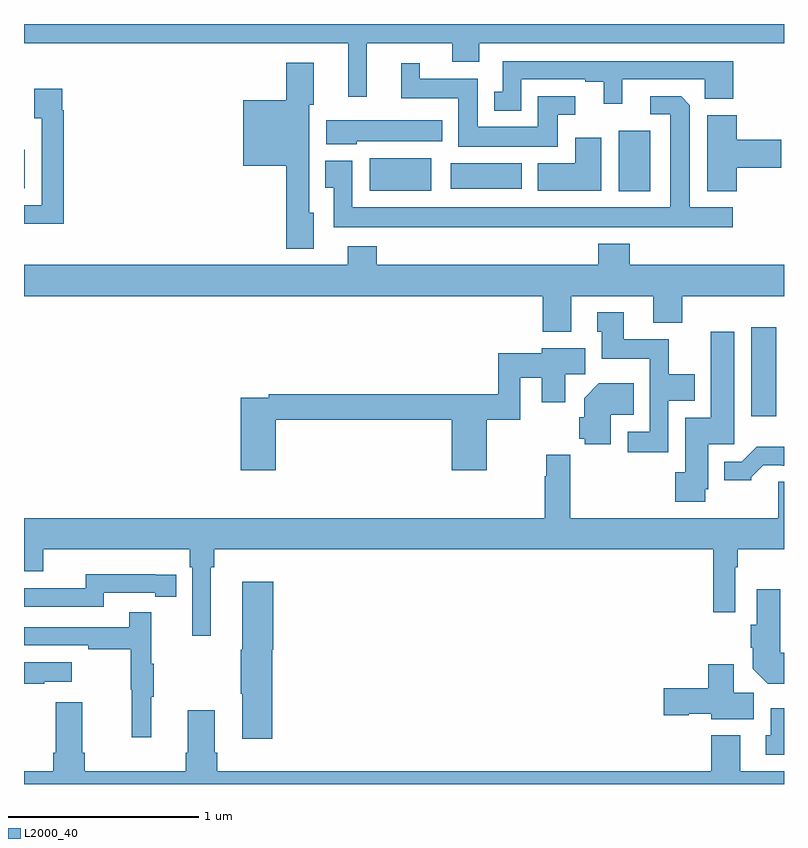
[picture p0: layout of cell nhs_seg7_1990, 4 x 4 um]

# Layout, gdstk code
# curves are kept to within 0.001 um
import gdstk
lib = gdstk.Library(unit=1e-6, precision=1e-09)
def R(c, l, rs):  # rectangles x0, y0, x1, y1
    for r in rs: c.add(gdstk.rectangle(r[:2], r[2:], *l))
def P(c, l, *ps):  # polygons
    for p in ps: c.add(gdstk.Polygon(p, *l))
L2000_40 = (2000, 40)

nhs_seg7_1990 = lib.new_cell('nhs_seg7_1990')
R(nhs_seg7_1990, L2000_40, [(246.827,1047.936,246.958,1048.405), (246.131,1049.12,246.295,1049.437), (244.82,1049.123,245.143,1049.293), (245.247,1049.132,245.62,1049.266), (243,1049.135,243.004,1049.338)])
P(nhs_seg7_1990, L2000_40, [(244.805,1049.9),(245.255,1049.9),(245.255,1049.801),(245.395,1049.801),(245.395,1049.9),(247,1049.9),(247,1050),(243,1050),(243,1049.9),(244.706,1049.9),(244.706,1049.616),(244.805,1049.616)],
  [(245.616,1049.709),(245.954,1049.709),(245.954,1049.697),(246.05,1049.697),(246.05,1049.58),(246.148,1049.58),(246.148,1049.709),(246.582,1049.709),(246.582,1049.606),(246.734,1049.606),(246.734,1049.805),(245.52,1049.805),(245.52,1049.643),(245.474,1049.643),(245.474,1049.543),(245.616,1049.543)],
  [(244.525,1049.007),(244.501,1049.007),(244.501,1049.574),(244.525,1049.574),(244.525,1049.797),(244.379,1049.797),(244.379,1049.599),(244.154,1049.599),(244.154,1049.255),(244.379,1049.255),(244.379,1048.817),(244.525,1048.817)],
  [(245.809,1049.523),(245.902,1049.523),(245.902,1049.619),(245.705,1049.619),(245.705,1049.458),(245.389,1049.458),(245.389,1049.713),(245.083,1049.713),(245.083,1049.794),(244.985,1049.794),(244.985,1049.609),(245.285,1049.609),(245.285,1049.354),(245.809,1049.354)],
  [(243.209,1049.546),(243.202,1049.546),(243.202,1049.659),(243.053,1049.659),(243.053,1049.503),(243.093,1049.503),(243.093,1049.046),(243,1049.046),(243,1048.949),(243.209,1048.949)],
  [(246.73,1049.035),(246.505,1049.035),(246.504,1049.573),(246.458,1049.619),(246.297,1049.619),(246.297,1049.526),(246.401,1049.526),(246.401,1049.035),(244.728,1049.035),(244.728,1049.281),(244.586,1049.281),(244.586,1049.137),(244.631,1049.137),(244.631,1048.931),(246.73,1048.931)],
  [(246.752,1049.243),(246.985,1049.243),(246.985,1049.39),(246.752,1049.39),(246.752,1049.521),(246.596,1049.521),(246.596,1049.12),(246.752,1049.12)],
  [(244.752,1049.384),(245.2,1049.384),(245.2,1049.494),(244.59,1049.494),(244.59,1049.366),(244.752,1049.366)],
  [(246.037,1049.401),(245.9,1049.401),(245.9,1049.266),(245.705,1049.266),(245.705,1049.123),(246.037,1049.123)],
  [(245.881,1048.568),(246.311,1048.568),(246.311,1048.427),(246.464,1048.427),(246.464,1048.568),(247,1048.568),(247,1048.732),(246.188,1048.732),(246.188,1048.843),(246.023,1048.843),(246.023,1048.732),(244.856,1048.732),(244.856,1048.831),(244.703,1048.831),(244.703,1048.732),(243,1048.732),(243,1048.568),(245.729,1048.568),(245.729,1048.379),(245.881,1048.379)],
  [(246.39,1048.016),(246.529,1048.016),(246.529,1048.156),(246.393,1048.156),(246.393,1048.342),(246.157,1048.342),(246.157,1048.483),(246.017,1048.483),(246.017,1048.38),(246.041,1048.38),(246.041,1048.238),(246.294,1048.238),(246.294,1047.855),(246.177,1047.855),(246.177,1047.747),(246.39,1047.747)],
  [(246.585,1047.552),(246.601,1047.552),(246.601,1047.789),(246.739,1047.789),(246.739,1048.381),(246.614,1048.381),(246.614,1047.928),(246.479,1047.928),(246.479,1047.642),(246.428,1047.642),(246.428,1047.486),(246.585,1047.486)],
  [(244.325,1047.916),(245.252,1047.916),(245.252,1047.651),(245.435,1047.651),(245.435,1047.916),(245.613,1047.916),(245.613,1048.138),(245.726,1048.138),(245.726,1048.008),(245.848,1048.008),(245.848,1048.156),(245.953,1048.156),(245.953,1048.294),(245.726,1048.294),(245.726,1048.267),(245.497,1048.267),(245.497,1048.052),(244.288,1048.052),(244.288,1048.032),(244.142,1048.032),(244.142,1047.651),(244.325,1047.651)],
  [(246.088,1047.944),(246.209,1047.944),(246.209,1048.108),(246.026,1048.108),(245.948,1048.03),(245.948,1047.93),(245.923,1047.93),(245.923,1047.816),(245.952,1047.816),(245.952,1047.787),(246.088,1047.787)],
  [(246.828,1047.614),(246.892,1047.678),(246.991,1047.678),(246.991,1047.675),(247,1047.675),(247,1047.775),(246.856,1047.775),(246.777,1047.696),(246.686,1047.696),(246.686,1047.599),(246.828,1047.599)],
  [(243.982,1047.14),(244.001,1047.14),(244.001,1047.236),(246.628,1047.236),(246.628,1046.904),(246.744,1046.904),(246.744,1047.14),(246.757,1047.14),(246.757,1047.236),(247,1047.236),(247,1047.59),(246.971,1047.59),(246.971,1047.4),(245.876,1047.4),(245.876,1047.733),(245.748,1047.733),(245.748,1047.62),(245.74,1047.62),(245.74,1047.4),(243,1047.4),(243,1047.119),(243.1,1047.119),(243.1,1047.236),(243.872,1047.236),(243.872,1047.14),(243.885,1047.14),(243.885,1046.781),(243.982,1046.781)],
  [(243.42,1047.006),(243.692,1047.006),(243.692,1046.986),(243.8,1046.986),(243.8,1047.102),(243.692,1047.102),(243.692,1047.103),(243.324,1047.103),(243.324,1047.03),(243,1047.03),(243,1046.934),(243.42,1046.934)],
  [(244.307,1046.706),(244.312,1046.706),(244.312,1047.064),(244.148,1047.064),(244.148,1046.706),(244.141,1046.706),(244.141,1046.476),(244.148,1046.476),(244.148,1046.238),(244.307,1046.238)],
  [(247,1046.692),(246.979,1046.692),(246.979,1047.025),(246.857,1047.025),(246.857,1046.838),(246.824,1046.838),(246.824,1046.716),(246.836,1046.716),(246.836,1046.606),(246.914,1046.528),(247,1046.528)],
  [(243.671,1046.459),(243.682,1046.459),(243.682,1046.633),(243.671,1046.633),(243.671,1046.905),(243.553,1046.905),(243.553,1046.826),(243,1046.826),(243,1046.73),(243.337,1046.73),(243.337,1046.71),(243.561,1046.71),(243.561,1046.496),(243.568,1046.496),(243.568,1046.247),(243.671,1046.247)],
  [(243.107,1046.537),(243.25,1046.537),(243.25,1046.641),(243,1046.641),(243,1046.527),(243.107,1046.527)],
  [(246.841,1046.48),(246.736,1046.48),(246.736,1046.629),(246.602,1046.629),(246.602,1046.504),(246.366,1046.504),(246.366,1046.362),(246.498,1046.362),(246.498,1046.369),(246.618,1046.369),(246.618,1046.342),(246.841,1046.342)],
  [(244.016,1046.164),(244.003,1046.164),(244.003,1046.389),(243.863,1046.389),(243.863,1046.164),(243.851,1046.164),(243.851,1046.068),(243.32,1046.068),(243.32,1046.164),(243.307,1046.164),(243.307,1046.43),(243.167,1046.43),(243.167,1046.164),(243.155,1046.164),(243.155,1046.068),(243,1046.068),(243,1046),(247,1046),(247,1046.068),(246.769,1046.068),(246.769,1046.257),(246.617,1046.257),(246.617,1046.068),(244.016,1046.068)],
  [(247,1046.398),(246.929,1046.398),(246.929,1046.256),(246.905,1046.256),(246.905,1046.154),(247,1046.154)])

lib.write_gds('nhs_seg7_1990.gds')
